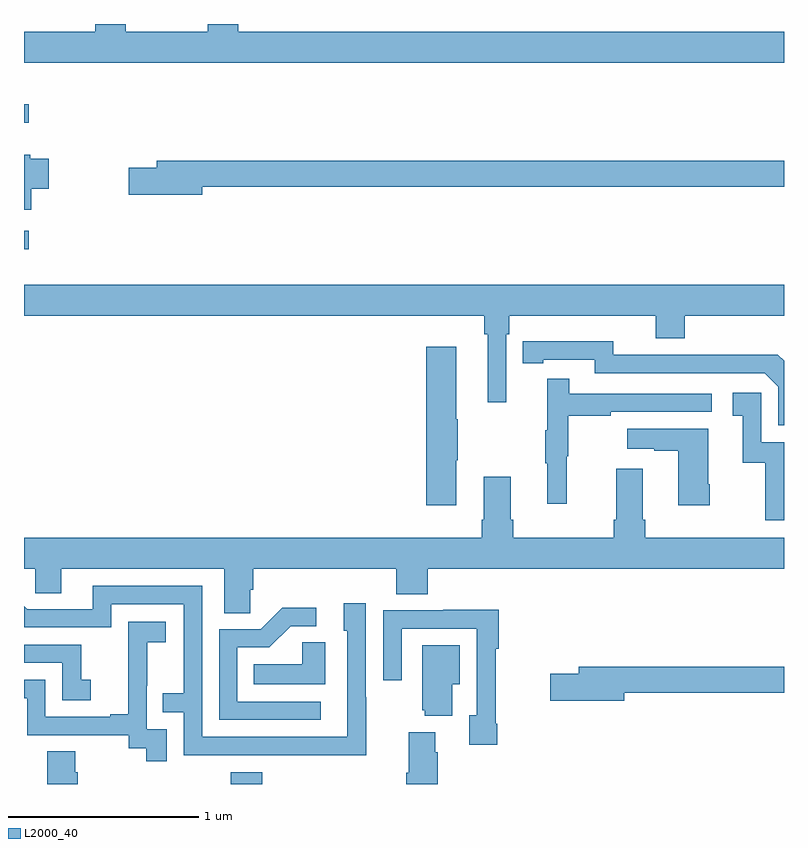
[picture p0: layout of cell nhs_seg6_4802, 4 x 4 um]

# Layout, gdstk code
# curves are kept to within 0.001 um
import gdstk
lib = gdstk.Library(unit=1e-6, precision=1e-09)
def R(c, l, rs):  # rectangles x0, y0, x1, y1
    for r in rs: c.add(gdstk.rectangle(r[:2], r[2:], *l))
def P(c, l, *ps):  # polygons
    for p in ps: c.add(gdstk.Polygon(p, *l))
L2000_40 = (2000, 40)

nhs_seg6_4802 = lib.new_cell('nhs_seg6_4802')
R(nhs_seg6_4802, L2000_40, [(396.089,983.5,396.254,983.563), (395,986.315,395.026,986.412), (395,986.981,395.026,987.078)])
P(nhs_seg6_4802, L2000_40, [(399,987.46),(396.128,987.46),(396.128,987.5),(395.968,987.5),(395.968,987.46),(395.535,987.46),(395.535,987.5),(395.375,987.5),(395.375,987.46),(395,987.46),(395,987.296),(399,987.296)],
  [(395.038,986.633),(395.131,986.633),(395.131,986.791),(395.034,986.791),(395.034,986.812),(395,986.812),(395,986.522),(395.038,986.522)],
  [(395.938,986.644),(399,986.644),(399,986.78),(395.699,986.78),(395.699,986.744),(395.55,986.744),(395.55,986.602),(395.938,986.602)],
  [(397.539,985.868),(397.553,985.868),(397.553,985.964),(398.324,985.964),(398.324,985.847),(398.477,985.847),(398.477,985.964),(399,985.964),(399,986.128),(395,986.128),(395,985.964),(397.423,985.964),(397.423,985.868),(397.442,985.868),(397.442,985.509),(397.539,985.509)],
  [(399,985.728),(398.968,985.76),(398.56,985.76),(398.56,985.758),(398.1,985.758),(398.1,985.831),(397.624,985.83),(397.624,985.714),(397.732,985.714),(397.732,985.734),(398.004,985.734),(398.004,985.662),(398.898,985.662),(398.97,985.59),(398.97,985.389),(399,985.389)],
  [(397.276,985.204),(397.284,985.204),(397.284,985.421),(397.276,985.421),(397.276,985.801),(397.118,985.801),(397.118,984.966),(397.276,984.966)],
  [(397.856,985.224),(397.864,985.224),(397.864,985.438),(398.087,985.438),(398.087,985.458),(398.62,985.458),(398.62,985.554),(397.871,985.554),(397.871,985.633),(397.754,985.633),(397.754,985.361),(397.743,985.361),(397.743,985.187),(397.754,985.187),(397.754,984.975),(397.856,984.975)],
  [(399,985.299),(398.88,985.299),(398.88,985.558),(398.73,985.558),(398.73,985.437),(398.783,985.437),(398.783,985.191),(398.901,985.191),(398.901,984.888),(399,984.888)],
  [(398.61,985.078),(398.602,985.078),(398.602,985.369),(398.175,985.369),(398.175,985.265),(398.318,985.265),(398.318,985.255),(398.444,985.255),(398.444,984.966),(398.61,984.966)],
  [(396.192,984.523),(396.206,984.523),(396.206,984.632),(396.959,984.632),(396.959,984.499),(397.124,984.499),(397.124,984.632),(399,984.632),(399,984.796),(398.27,984.796),(398.27,984.892),(398.257,984.892),(398.257,985.159),(398.117,985.159),(398.117,984.892),(398.105,984.892),(398.105,984.796),(397.574,984.796),(397.574,984.892),(397.561,984.892),(397.561,985.117),(397.421,985.117),(397.421,984.892),(397.409,984.892),(397.409,984.796),(395,984.796),(395,984.632),(395.058,984.632),(395.058,984.505),(395.197,984.505),(395.197,984.632),(396.053,984.632),(396.053,984.4),(396.192,984.4)],
  [(396.801,983.957),(396.798,983.957),(396.798,984.451),(396.683,984.451),(396.683,984.306),(396.702,984.306),(396.702,983.748),(395.937,983.748),(395.937,984.543),(395.363,984.543),(395.363,984.42),(395.016,984.42),(395,984.436),(395,984.324),(395.46,984.324),(395.46,984.447),(395.841,984.447),(395.841,983.978),(395.731,983.978),(395.731,983.877),(395.841,983.877),(395.841,983.652),(396.801,983.651)],
  [(396.562,983.934),(396.123,983.934),(396.123,984.219),(396.292,984.219),(396.403,984.33),(396.538,984.33),(396.538,984.428),(396.359,984.428),(396.246,984.315),(396.027,984.315),(396.027,983.838),(396.562,983.838)],
  [(397.492,983.818),(397.484,983.818),(397.484,984.211),(397.499,984.211),(397.499,984.416),(397.207,984.416),(397.207,984.414),(396.891,984.414),(396.891,984.045),(396.987,984.045),(396.987,984.318),(397.383,984.318),(397.383,983.862),(397.343,983.862),(397.343,983.706),(397.492,983.706)],
  [(395.751,983.787),(395.646,983.787),(395.646,984.017),(395.648,984.017),(395.648,984.245),(395.746,984.245),(395.746,984.355),(395.548,984.355),(395.548,984.149),(395.549,984.149),(395.549,983.866),(395.453,983.866),(395.453,983.853),(395.112,983.853),(395.112,984.048),(395,984.048),(395,983.952),(395.016,983.952),(395.016,983.757),(395.55,983.757),(395.55,983.689),(395.643,983.689),(395.643,983.619),(395.751,983.619)],
  [(396.586,984.245),(396.465,984.245),(396.465,984.13),(396.208,984.13),(396.208,984.026),(396.586,984.026)],
  [(395.35,984.049),(395.301,984.049),(395.301,984.234),(395,984.234),(395,984.138),(395.202,984.138),(395.202,983.94),(395.35,983.94)],
  [(397.255,984.026),(397.294,984.026),(397.294,984.229),(397.097,984.229),(397.097,983.889),(397.109,983.889),(397.109,983.858),(397.255,983.858)],
  [(398.158,983.98),(399,983.98),(399,984.116),(397.919,984.116),(397.919,984.08),(397.77,984.08),(397.77,983.938),(398.158,983.938)],
  [(397.178,983.666),(397.165,983.666),(397.165,983.773),(397.025,983.773),(397.025,983.56),(397.013,983.56),(397.013,983.5),(397.178,983.5)],
  [(395.282,983.562),(395.269,983.562),(395.269,983.672),(395.122,983.672),(395.122,983.5),(395.282,983.5)])

lib.write_gds('nhs_seg6_4802.gds')
